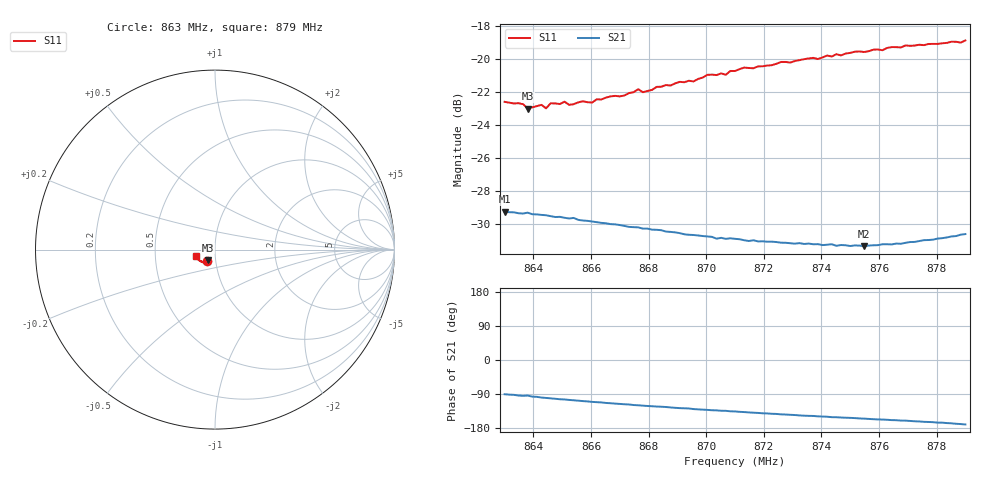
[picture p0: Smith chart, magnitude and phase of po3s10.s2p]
# HZ S RI R 50
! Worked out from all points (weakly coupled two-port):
!   101 points, 863 MHz to 879 MHz, reference 50 ohm
!   highest |S21| = -29.25 dB at 863 MHz (marker M1); lowest = -31.3 dB at 875.48 MHz (marker M2)
!   lowest |S11| = -23.0 dB at 863.8 MHz (marker M3), VSWR 1.15, Z = 45.8 - j5.32 ohm
!   |S11| at or under -10 dB: start of sweep to end of sweep
!   S12 and S22 are empty: the file has one direction only
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8.63e8  -0.0424 -0.0607  -0.000186 -0.0345  0 0  0 0
8.6364e8  -0.041 -0.0603  -0.0027 -0.0339  0 0  0 0
8.638e8  -0.0407 -0.0578  -0.00231 -0.0342  0 0  0 0
8.6428e8  -0.0384 -0.0616  -0.00532 -0.0333  0 0  0 0
8.6444e8  -0.0375 -0.0601  -0.00593 -0.0331  0 0  0 0
8.646e8  -0.0392 -0.062  -0.00647 -0.0328  0 0  0 0
8.6508e8  -0.0401 -0.0624  -0.00809 -0.0321  0 0  0 0
8.6524e8  -0.0374 -0.0622  -0.0087 -0.0317  0 0  0 0
8.6572e8  -0.0379 -0.064  -0.0103 -0.0308  0 0  0 0
8.6604e8  -0.0381 -0.0631  -0.0113 -0.0302  0 0  0 0
8.662e8  -0.0379 -0.0652  -0.0116 -0.0299  0 0  0 0
8.6716e8  -0.0385 -0.0672  -0.0141 -0.0279  0 0  0 0
8.6764e8  -0.0421 -0.0691  -0.0152 -0.0269  0 0  0 0
8.678e8  -0.0406 -0.068  -0.0155 -0.0264  0 0  0 0
8.6844e8  -0.043 -0.0702  -0.0166 -0.0253  0 0  0 0
8.6956e8  -0.0474 -0.071  -0.0187 -0.0226  0 0  0 0
8.7004e8  -0.051 -0.0734  -0.0193 -0.0217  0 0  0 0
8.71e8  -0.0561 -0.0727  -0.0204 -0.0199  0 0  0 0
8.7372e8  -0.0728 -0.0695  -0.0232 -0.0147  0 0  0 0
8.7548e8  -0.0847 -0.0617  -0.0245 -0.0116  0 0  0 0
8.7644e8  -0.0931 -0.0555  -0.0256 -0.01  0 0  0 0
8.79e8  -0.1081 -0.0348  -0.0291 -0.00504  0 0  0 0
